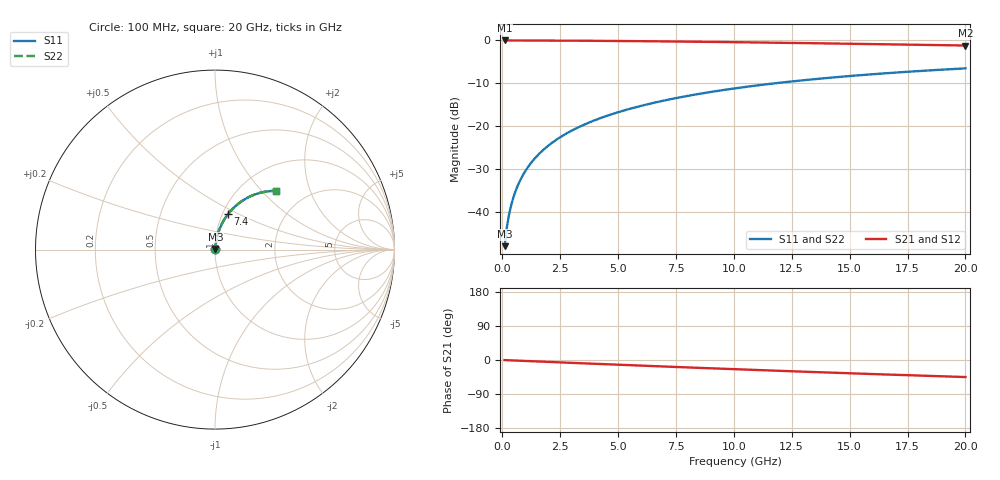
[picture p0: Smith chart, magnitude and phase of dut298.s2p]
! Touchstone file exported from HFSS 2026.1.0
!  File:  C:/ffzhzh/LocalFiles/Ansys_Project_Files/temp_train_BSMRDL_298_1782989405_40604.aedt
!  Generated:  06:51:22 PM Jul  2, 2026
!  Design:  BSMRDL
!  Project:  temp_train_BSMRDL_298_1782989405_40604
! Variables:
!  h_bsmrdl = 4.82um
!  h_ox = 20um
!  h_rdl = 5um
!  h_sub = 80um
!  h_tmrdl = 5um
!  h_tsv = 80um
!  h_via = 3um
!  l_bsmrdl = 612.18um
!  l_sub = 1012.18um
!  l_tmrdl = 200um
!  m_sub = 200um
!  pitch = 59.87um
!  r_tsv = 6um
!  s_tmrdl = 10um
!  w_bsmrdl = 18.72um
!  w_sub = 500um
!  w_tmrdl = 12um
!  x_tsv_center1 = 206um
!  x_tsv_center2 = 836.9um
!  x_tsv_center3 = 1048.9um
!  x_tsv_center4 = 1679.8um
!  x_tsv_center5 = 1891.8um
!  x_tsv_center6 = 2522.7um
# GHz S MA R 50.000000
! Terminal data exported
! Port[1] = BSM_RDL1_1_T1
! Port[2] = BSM_RDL1_1_T2
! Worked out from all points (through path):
!   200 points, 100 MHz to 20 GHz, reference 50 ohm
!   highest |S21| = -0.02 dB at 100 MHz (marker M1); lowest = -1.2 dB at 20 GHz (marker M2)
!   group delay of S21, straight-line fit = 6.26 ps
!   lowest |S11| = -47.9 dB at 100 MHz (marker M3), VSWR 1.01, Z = 50.3 + j0.317 ohm
!   |S11| at or under -10 dB: start of sweep to 11.75 GHz
!   |S22| runs from -47.9 to -6.5 dB; largest |S21 - S12| = 3.7e-15
!   S11 on the Smith chart (normalised r, x): 100 MHz: 1.01, +0.01; 7.4 GHz: 1.06, +0.44; 20 GHz: 1.44, +1.21
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0.1  0.004048 51.1  0.9975 -0.3  0.9975 -0.3  0.004048 51.1
! Gamma 0 0 0 0
! Port Impedance 50 0 50 0
0.2  0.006785 66.6  0.9973 -0.5  0.9973 -0.5  0.006785 66.6
0.3  0.009676 72.8  0.9972 -0.8  0.9972 -0.8  0.009676 72.8
0.4  0.0126 76.1  0.9971 -1.0  0.9971 -1.0  0.0126 76.1
0.5  0.01554 78.1  0.997 -1.3  0.997 -1.3  0.01554 78.1
0.7  0.02146 80.3  0.9968 -1.8  0.9968 -1.8  0.02146 80.3
0.8  0.02443 80.9  0.9967 -2.0  0.9967 -2.0  0.02443 80.9
1  0.03039 81.6  0.9965 -2.5  0.9965 -2.5  0.03039 81.6
1.2  0.03635 81.9  0.9962 -3.1  0.9962 -3.1  0.03634 81.9
1.4  0.0423 82.0  0.9958 -3.6  0.9958 -3.6  0.0423 82.0
1.7  0.05121 81.8  0.9953 -4.3  0.9953 -4.3  0.05121 81.9
2  0.06008 81.5  0.9946 -5.1  0.9946 -5.1  0.06008 81.5
2.7  0.08063 80.3  0.9927 -6.8  0.9927 -6.8  0.08063 80.3
3.5  0.1038 78.6  0.99 -8.8  0.99 -8.8  0.1038 78.6
4.2  0.1237 77.1  0.9872 -10.5  0.9872 -10.5  0.1237 77.1
5  0.146 75.3  0.9835 -12.5  0.9835 -12.5  0.146 75.3
6.8  0.1948 71.2  0.974 -16.8  0.974 -16.8  0.1948 71.2
7.4  0.2105 69.8  0.9704 -18.2  0.9704 -18.2  0.2105 69.9
10.1  0.278 63.8  0.9523 -24.4  0.9523 -24.4  0.278 63.9
13.4  0.3523 56.8  0.9267 -31.7  0.9267 -31.7  0.3523 56.9
16.7  0.4171 50.1  0.8991 -38.5  0.8991 -38.5  0.4171 50.2
20  0.4724 43.7  0.8714 -45.0  0.8714 -45.0  0.4724 43.9
